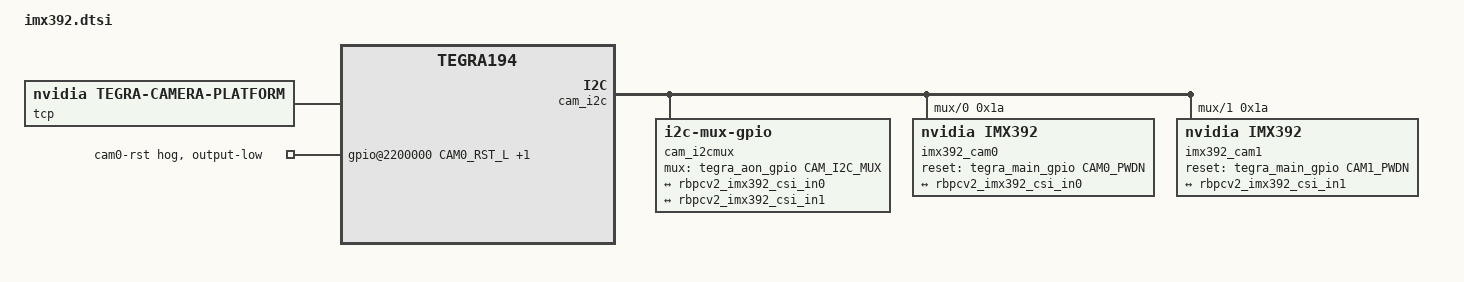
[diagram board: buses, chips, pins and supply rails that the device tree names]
/*
 * Copyright (c) 2018-2020, NVIDIA CORPORATION.  All rights reserved.
 *
 * This program is free software; you can redistribute it and/or modify
 * it under the terms of the GNU General Public License as published by
 * the Free Software Foundation; either version 2 of the License, or
 * (at your option) any later version.
 *
 * This program is distributed in the hope that it will be useful, but WITHOUT
 * ANY WARRANTY; without even the implied warranty of MERCHANTABILITY or
 * FITNESS FOR A PARTICULAR PURPOSE.  See the GNU General Public License for
 * more details.
 *
 * You should have received a copy of the GNU General Public License
 * along with this program.  If not, see <http://www.gnu.org/licenses/>.
 */

#define COLOR_SENSOR   0                /* CCC - imx392.dtsi - color sensor: 0=no, 1=yes */
#if COLOR_SENSOR
  #define PIXEL_TYPE_08  "bayer_rggb8"  /* 8-bit color pixel type  : V4L2_PIX_FMT_SRGGB8  'RGGB'  */
  #define PIXEL_TYPE_10  "bayer_rggb"   /* 10-bit color pixel type : V4L2_PIX_FMT_SRGGB10 'RG10'  */
  #define PIXEL_TYPE_12  "bayer_rggb12" /* 12-bit color pixel type : V4L2_PIX_FMT_SRGGB12 'RG12'  */
#else
  #define PIXEL_TYPE_08  "gray"         /* 8-bit grayscale pixel type  : V4L2_PIX_FMT_GREY 'GREY' */
  #define PIXEL_TYPE_10  "y10"          /* 10-bit grayscale pixel type : V4L2_PIX_FMT_Y10  'Y10 ' */
  #define PIXEL_TYPE_12  "y12"          /* 12-bit grayscale pixel type : V4L2_PIX_FMT_Y12  'Y12 ' */
#endif

#define BUS_WIDTH      2            /* CCC - imx392.dtsi - bus width: 1, 2 or 4 */
#define NUM_LANES     "2"           /* CCC - imx392.dtsi - number of lanes (== bus width): 1, 2 or 4 */
#define FLASH_OUTPUT  "1"           /* CCC - imx392.dtsi - flash output enable: "0"=off, "1"=on */
#define PIX_CLK_HZ_08 "1100000000"   // "800000000"  "400000000"  "182400000"
#define PIX_CLK_HZ_10 "1100000000"   // "800000000"  "400000000"  "182400000"
#define PIX_CLK_HZ_12 "1100000000"   // "800000000"  "400000000"  "182400000"


// #include <dt-bindings/media/camera.h>

// #define CAM0_PWDN     TEGRA194_MAIN_GPIO(P, 4)
// #define CAM1_PWDN     TEGRA194_MAIN_GPIO(P, 5)
// #define CAM_I2C_MUX   TEGRA194_AON_GPIO(CC, 3)

#include <t19x-common-modules/tegra194-camera-e3326-a00.dtsi>
#include "dt-bindings/clock/tegra194-clock.h"

#define CAM0_RST_L  TEGRA194_MAIN_GPIO(H, 3)
#define CAM0_PWDN   TEGRA194_MAIN_GPIO(H, 6)

/*
I2C Busses:

aliases:
i2c0 = "/i2c@3160000";
i2c1 = "/i2c@c240000";
i2c2 = "/i2c@3180000";
i2c3 = "/i2c@3190000";
i2c4 = "/i2c@31a0000";
i2c5 = "/i2c@31b0000";
i2c6 = "/i2c@31c0000";
i2c7 = "/i2c@c250000";
i2c8 = "/i2c@31e0000";
*/

/ {
    host1x {
        vi@15c10000  {
            num-channels = <2>;
            ports {
                #address-cells = <1>;
                #size-cells = <0>;
                vi_port0: port@0 {
                    reg = <0>;
                    rbpcv2_imx392_vi_in0: endpoint {
                        port-index = <2>;
                        bus-width = <BUS_WIDTH>;
                        remote-endpoint = <&rbpcv2_imx392_csi_out0>;
                    };
                };
                vi_port1: port@1 {
                    reg = <1>;
                    rbpcv2_imx392_vi_in1: endpoint {
                        port-index = <4>;
                        bus-width = <BUS_WIDTH>;
                        remote-endpoint = <&rbpcv2_imx392_csi_out1>;
                    };
                };
            };
        };

        nvcsi@15a00000 {
            num-channels = <2>;
            #address-cells = <1>;
            #size-cells = <0>;
            csi_chan0: channel@0 {
                reg = <0>;
                ports {
                    #address-cells = <1>;
                    #size-cells = <0>;
                    csi_chan0_port0: port@0 {
                        reg = <0>;
                        rbpcv2_imx392_csi_in0: endpoint@0 {
                            port-index = <2>;
                            bus-width = <BUS_WIDTH>;
                            remote-endpoint = <&rbpcv2_imx392_out0>;
                        };
                    };
                    csi_chan0_port1: port@1 {
                        reg = <1>;
                        rbpcv2_imx392_csi_out0: endpoint@1 {
                            remote-endpoint = <&rbpcv2_imx392_vi_in0>;
                        };
                    };
                };
            };
            csi_chan1: channel@1 {
                reg = <1>;
                ports {
                    #address-cells = <1>;
                    #size-cells = <0>;
                    csi_chan1_port0: port@0 {
                        reg = <0>;
                        rbpcv2_imx392_csi_in1: endpoint@2 {
                            port-index = <4>;
                            bus-width = <BUS_WIDTH>;
                            remote-endpoint = <&rbpcv2_imx392_out1>;
                        };
                    };
                    csi_chan1_port1: port@1 {
                        reg = <1>;
                        rbpcv2_imx392_csi_out1: endpoint@3 {
                            remote-endpoint = <&rbpcv2_imx392_vi_in1>;
                        };
                    };
                };
            };
        };
    };

    cam_i2cmux {
        i2c_0:i2c@0 {
            imx392_cam0: rbpcv2_imx392_a@1a {
                compatible = "nvidia,imx392";
                /* I2C device address */
                reg = <0x1a>;

                /* V4L2 device node location */
                devnode = "video0";

                /* Physical dimensions of sensor */
                physical_w = "3.680";
                physical_h = "2.760";

                sensor_model = "imx392";

                use_sensor_mode_id = "false";   // "true";
                flash-output = FLASH_OUTPUT;

                /**
                * ==== Modes ====
                * A modeX node is required to support v4l2 driver
                * implementation with NVIDIA camera software stack
                *
                * == Signal properties ==
                *
                * phy_mode = "";
                * PHY mode used by the MIPI lanes for this device
                *
                * tegra_sinterface = "";
                * CSI Serial interface connected to tegra
                * Incase of virtual HW devices, use virtual
                * For SW emulated devices, use host
                *
                * pix_clk_hz = "";
                * Sensor pixel clock used for calculations like exposure and framerate
                *
                * readout_orientation = "0";
                * Based on camera module orientation.
                * Only change readout_orientation if you specifically
                * Program a different readout order for this mode
                *
                * == Image format Properties ==
                *
                * active_w = "";
                * Pixel active region width
                *
                * active_h = "";
                * Pixel active region height
                *
                * pixel_t = "";
                * The sensor readout pixel pattern
                *
                * line_length = "";
                * Pixel line length (width) for sensor mode.
                *
                * == Source Control Settings ==
                *
                * Gain factor used to convert fixed point integer to float
                * Gain range [min_gain/gain_factor, max_gain/gain_factor]
                * Gain step [step_gain/gain_factor is the smallest step that can be configured]
                * Default gain [Default gain to be initialized for the control.
                *     use min_gain_val as default for optimal results]
                * Framerate factor used to convert fixed point integer to float
                * Framerate range [min_framerate/framerate_factor, max_framerate/framerate_factor]
                * Framerate step [step_framerate/framerate_factor is the smallest step that can be configured]
                * Default Framerate [Default framerate to be initialized for the control.
                *     use max_framerate to get required performance]
                * Exposure factor used to convert fixed point integer to float
                * For convenience use 1 sec = 1000000us as conversion factor
                * Exposure range [min_exp_time/exposure_factor, max_exp_time/exposure_factor]
                * Exposure step [step_exp_time/exposure_factor is the smallest step that can be configured]
                * Default Exposure Time [Default exposure to be initialized for the control.
                *     Set default exposure based on the default_framerate for optimal exposure settings]
                *
                * gain_factor = ""; (integer factor used for floating to fixed point conversion)
                * min_gain_val = ""; (ceil to integer)
                * max_gain_val = ""; (ceil to integer)
                * step_gain_val = ""; (ceil to integer)
                * default_gain = ""; (ceil to integer)
                * Gain limits for mode
                *
                * exposure_factor = ""; (integer factor used for floating to fixed point conversion)
                * min_exp_time = ""; (ceil to integer)
                * max_exp_time = ""; (ceil to integer)
                * step_exp_time = ""; (ceil to integer)
                * default_exp_time = ""; (ceil to integer)
                * Exposure Time limits for mode (sec)
                *
                * framerate_factor = ""; (integer factor used for floating to fixed point conversion)
                * min_framerate = ""; (ceil to integer)
                * max_framerate = ""; (ceil to integer)
                * step_framerate = ""; (ceil to integer)
                * default_framerate = ""; (ceil to integer)
                * Framerate limits for mode (fps)
                *
                * embedded_metadata_height = "";
                * Sensor embedded metadata height in units of rows.
                * If sensor does not support embedded metadata value should be 0.
                */
                mode0 {     // IMX392_MODE_1920X1200, 120 FPS, 8-bit
                    mclk_khz = "24000";
                    num_lanes = NUM_LANES;
                    tegra_sinterface = "serial_a";
                    phy_mode = "DPHY";
                    discontinuous_clk = "no"; // "yes";
                    dpcm_enable = "false";
                    cil_settletime = "0";

                    active_w = "1920";
                    active_h = "1200";
                    pixel_t = PIXEL_TYPE_08;

                    readout_orientation = "90";
                    line_length = "2304";
                    inherent_gain = "1";
                    mclk_multiplier = "9.33";
                    pix_clk_hz = PIX_CLK_HZ_08;  // "182400000";

                    gain_factor = "1";
                    framerate_factor = "1";
                    exposure_factor = "1";
                    min_gain_val = "0";         /* 1.00x */
                    max_gain_val = "1957";      /* 16 DB */
                    step_gain_val = "1";
                    default_gain = "16";        /* 1.00x */
                    min_hdr_ratio = "1";
                    max_hdr_ratio = "1";
                    min_framerate = "10";       /* 10.0 fps */
                    max_framerate = "60";       /* 60.0 fps */
                    step_framerate = "1";
                    default_framerate = "30";   /* 30.0 fps */
                    min_exp_time = "160";       /* us */
                    max_exp_time = "10000000";  /* us */
                    step_exp_time = "1";
                    default_exp_time = "10000"; /* us */

                    embedded_metadata_height = "0";
                };
                mode1 {     // IMX392_MODE_1920X1200, 120 FPS, 10-bit
                    mclk_khz = "24000";
                    num_lanes = NUM_LANES;
                    tegra_sinterface = "serial_a";
                    phy_mode = "DPHY";
                    discontinuous_clk = "no"; // "yes";
                    dpcm_enable = "false";
                    cil_settletime = "0";

                    active_w = "1920";
                    active_h = "1200";
                    pixel_t = PIXEL_TYPE_10;

                    readout_orientation = "90";
                    line_length = "2304";
                    inherent_gain = "1";
                    mclk_multiplier = "9.33";
                    pix_clk_hz = PIX_CLK_HZ_10;  // "182400000";

                    gain_factor = "1";
                    framerate_factor = "1";
                    exposure_factor = "1";
                    min_gain_val = "0";         /* 1.00x */
                    max_gain_val = "1957";      /* 16 DB */
                    step_gain_val = "1";
                    default_gain = "16";        /* 1.00x */
                    min_hdr_ratio = "1";
                    max_hdr_ratio = "1";
                    min_framerate = "10";       /* 10.0 fps */
                    max_framerate = "60";       /* 60.0 fps */
                    step_framerate = "1";
                    default_framerate = "30";   /* 30.0 fps */
                    min_exp_time = "160";       /* us */
                    max_exp_time = "10000000";  /* us */
                    step_exp_time = "1";
                    default_exp_time = "10000"; /* us */

                    embedded_metadata_height = "0";
                };
                mode2 {     // IMX392_MODE_1920X1200, 120 FPS, 12-bit
                    mclk_khz = "24000";
                    num_lanes = NUM_LANES;
                    tegra_sinterface = "serial_a";
                    phy_mode = "DPHY";
                    discontinuous_clk = "no"; // "yes";
                    dpcm_enable = "false";
                    cil_settletime = "0";

                    active_w = "1920";
                    active_h = "1200";
                    pixel_t = PIXEL_TYPE_12;

                    readout_orientation = "90";
                    line_length = "2304";
                    inherent_gain = "1";
                    mclk_multiplier = "9.33";
                    pix_clk_hz = PIX_CLK_HZ_12;  // "182400000";

                    gain_factor = "1";
                    framerate_factor = "1";
                    exposure_factor = "1";
                    min_gain_val = "0";         /* 1.00x */
                    max_gain_val = "1957";      /* 16 DB */
                    step_gain_val = "1";
                    default_gain = "16";        /* 1.00x */
                    min_hdr_ratio = "1";
                    max_hdr_ratio = "1";
                    min_framerate = "10";       /* 10.0 fps */
                    max_framerate = "60";       /* 60.0 fps */
                    step_framerate = "1";
                    default_framerate = "30";   /* 30.0 fps */
                    min_exp_time = "160";       /* us */
                    max_exp_time = "10000000";  /* us */
                    step_exp_time = "1";
                    default_exp_time = "10000"; /* us */

                    embedded_metadata_height = "0";
                };

                ports {
                    #address-cells = <1>;
                    #size-cells = <0>;
                    port@0 {
                        reg = <0>;
                        rbpcv2_imx392_out0: endpoint {
                            port-index = <2>;
                            bus-width = <BUS_WIDTH>;
                            remote-endpoint = <&rbpcv2_imx392_csi_in0>;
                        };
                    };
                };
            };
        };
        i2c_1: i2c@1 {
            imx392_cam1: rbpcv2_imx392_c@1a {
                compatible = "nvidia,imx392";
                /* I2C device address */
                reg = <0x1a>;

                /* V4L2 device node location */
                devnode = "video1";

                /* Physical dimensions of sensor */
                physical_w = "3.680";
                physical_h = "2.760";

                sensor_model = "imx392";

                use_sensor_mode_id = "false";   // "true";
                flash-output = FLASH_OUTPUT;

                /**
                * ==== Modes ====
                * A modeX node is required to support v4l2 driver
                * implementation with NVIDIA camera software stack
                *
                * == Signal properties ==
                *
                * phy_mode = "";
                * PHY mode used by the MIPI lanes for this device
                *
                * tegra_sinterface = "";
                * CSI Serial interface connected to tegra
                * Incase of virtual HW devices, use virtual
                * For SW emulated devices, use host
                *
                * pix_clk_hz = "";
                * Sensor pixel clock used for calculations like exposure and framerate
                *
                * readout_orientation = "0";
                * Based on camera module orientation.
                * Only change readout_orientation if you specifically
                * Program a different readout order for this mode
                *
                * == Image format Properties ==
                *
                * active_w = "";
                * Pixel active region width
                *
                * active_h = "";
                * Pixel active region height
                *
                * pixel_t = "";
                * The sensor readout pixel pattern
                *
                * line_length = "";
                * Pixel line length (width) for sensor mode.
                *
                * == Source Control Settings ==
                *
                * Gain factor used to convert fixed point integer to float
                * Gain range [min_gain/gain_factor, max_gain/gain_factor]
                * Gain step [step_gain/gain_factor is the smallest step that can be configured]
                * Default gain [Default gain to be initialized for the control.
                *     use min_gain_val as default for optimal results]
                * Framerate factor used to convert fixed point integer to float
                * Framerate range [min_framerate/framerate_factor, max_framerate/framerate_factor]
                * Framerate step [step_framerate/framerate_factor is the smallest step that can be configured]
                * Default Framerate [Default framerate to be initialized for the control.
                *     use max_framerate to get required performance]
                * Exposure factor used to convert fixed point integer to float
                * For convenience use 1 sec = 1000000us as conversion factor
                * Exposure range [min_exp_time/exposure_factor, max_exp_time/exposure_factor]
                * Exposure step [step_exp_time/exposure_factor is the smallest step that can be configured]
                * Default Exposure Time [Default exposure to be initialized for the control.
                *     Set default exposure based on the default_framerate for optimal exposure settings]
                *
                * gain_factor = ""; (integer factor used for floating to fixed point conversion)
                * min_gain_val = ""; (ceil to integer)
                * max_gain_val = ""; (ceil to integer)
                * step_gain_val = ""; (ceil to integer)
                * default_gain = ""; (ceil to integer)
                * Gain limits for mode
                *
                * exposure_factor = ""; (integer factor used for floating to fixed point conversion)
                * min_exp_time = ""; (ceil to integer)
                * max_exp_time = ""; (ceil to integer)
                * step_exp_time = ""; (ceil to integer)
                * default_exp_time = ""; (ceil to integer)
                * Exposure Time limits for mode (sec)
                *
                * framerate_factor = ""; (integer factor used for floating to fixed point conversion)
                * min_framerate = ""; (ceil to integer)
                * max_framerate = ""; (ceil to integer)
                * step_framerate = ""; (ceil to integer)
                * default_framerate = ""; (ceil to integer)
                * Framerate limits for mode (fps)
                *
                * embedded_metadata_height = "";
                * Sensor embedded metadata height in units of rows.
                * If sensor does not support embedded metadata value should be 0.
                */
                mode0 {     // IMX392_MODE_1920X1200, 120 FPS, 8-bit
                    mclk_khz = "24000";
                    num_lanes = NUM_LANES;
                    tegra_sinterface = "serial_c";
                    phy_mode = "DPHY";
                    discontinuous_clk = "no"; // "yes";
                    dpcm_enable = "false";
                    cil_settletime = "0";

                    active_w = "1920";
                    active_h = "1200";
                    pixel_t = PIXEL_TYPE_08;

                    readout_orientation = "90";
                    line_length = "2304";
                    inherent_gain = "1";
                    mclk_multiplier = "9.33";
                    pix_clk_hz = PIX_CLK_HZ_08;  // "182400000";

                    gain_factor = "1";
                    framerate_factor = "1";
                    exposure_factor = "1";
                    min_gain_val = "0";         /* 1.00x */
                    max_gain_val = "1957";      /* 16 DB */
                    step_gain_val = "1";
                    default_gain = "16";        /* 1.00x */
                    min_hdr_ratio = "1";
                    max_hdr_ratio = "1";
                    min_framerate = "10";       /* 10.0 fps */
                    max_framerate = "60";       /* 60.0 fps */
                    step_framerate = "1";
                    default_framerate = "30";   /* 30.0 fps */
                    min_exp_time = "160";       /* us */
                    max_exp_time = "10000000";  /* us */
                    step_exp_time = "1";
                    default_exp_time = "10000"; /* us */

                    embedded_metadata_height = "0";
                };
                mode1 {     // IMX392_MODE_1920X1200, 120 FPS, 10-bit
                    mclk_khz = "24000";
                    num_lanes = NUM_LANES;
                    tegra_sinterface = "serial_c";
                    phy_mode = "DPHY";
                    discontinuous_clk = "no"; // "yes";
                    dpcm_enable = "false";
                    cil_settletime = "0";

                    active_w = "1920";
                    active_h = "1200";
                    pixel_t = PIXEL_TYPE_10;

                    readout_orientation = "90";
                    line_length = "2304";
                    inherent_gain = "1";
                    mclk_multiplier = "9.33";
                    pix_clk_hz = PIX_CLK_HZ_10;  // "182400000";

                    gain_factor = "1";
                    framerate_factor = "1";
                    exposure_factor = "1";
                    min_gain_val = "0";         /* 1.00x */
                    max_gain_val = "1957";      /* 16 DB */
                    step_gain_val = "1";
                    default_gain = "16";        /* 1.00x */
                    min_hdr_ratio = "1";
                    max_hdr_ratio = "1";
                    min_framerate = "10";       /* 10.0 fps */
                    max_framerate = "60";       /* 60.0 fps */
                    step_framerate = "1";
                    default_framerate = "30";   /* 30.0 fps */
                    min_exp_time = "160";       /* us */
                    max_exp_time = "10000000";  /* us */
                    step_exp_time = "1";
                    default_exp_time = "10000"; /* us */

                    embedded_metadata_height = "0";
                };
                mode2 {     // IMX392_MODE_1920X1200, 120 FPS, 12-bit
                    mclk_khz = "24000";
                    num_lanes = NUM_LANES;
                    tegra_sinterface = "serial_c";
                    phy_mode = "DPHY";
                    discontinuous_clk = "no"; // "yes";
                    dpcm_enable = "false";
                    cil_settletime = "0";

                    active_w = "1920";
                    active_h = "1200";
                    pixel_t = PIXEL_TYPE_12;

                    readout_orientation = "90";
                    line_length = "2304";
                    inherent_gain = "1";
                    mclk_multiplier = "9.33";
                    pix_clk_hz = PIX_CLK_HZ_12;  // "182400000";

                    gain_factor = "1";
                    framerate_factor = "1";
                    exposure_factor = "1";
                    min_gain_val = "0";         /* 1.00x */
                    max_gain_val = "1957";      /* 16 DB */
                    step_gain_val = "1";
                    default_gain = "16";        /* 1.00x */
                    min_hdr_ratio = "1";
                    max_hdr_ratio = "1";
                    min_framerate = "10";       /* 10.0 fps */
                    max_framerate = "60";       /* 60.0 fps */
                    step_framerate = "1";
                    default_framerate = "30";   /* 30.0 fps */
                    min_exp_time = "160";       /* us */
                    max_exp_time = "10000000";  /* us */
                    step_exp_time = "1";
                    default_exp_time = "10000"; /* us */

                    embedded_metadata_height = "0";
                };

                ports {
                    #address-cells = <1>;
                    #size-cells = <0>;
                    port@0 {
                        reg = <0>;
                        rbpcv2_imx392_out1: endpoint {
                            port-index = <4>;
                            bus-width = <BUS_WIDTH>;
                            remote-endpoint = <&rbpcv2_imx392_csi_in1>;
                        };
                    };
                };
            };
        };
    };

    lens_imx392@RBPCV2 {
        min_focus_distance = "0.0";
        hyper_focal = "0.0";
        focal_length = "3.04";
        f_number = "2.0";
        aperture = "0.0";
    };
};

/ {
    tcp: tegra-camera-platform {
        compatible = "nvidia, tegra-camera-platform";
        /**
        * Physical settings to calculate max ISO BW
        *
        * num_csi_lanes = <>;
        * Total number of CSI lanes when all cameras are active
        *
        * max_lane_speed = <>;
        * Max lane speed in Kbit/s
        *
        * min_bits_per_pixel = <>;
        * Min bits per pixel
        *
        * vi_peak_byte_per_pixel = <>;
        * Max byte per pixel for the VI ISO case
        *
        * vi_bw_margin_pct = <>;
        * Vi bandwidth margin in percentage
        *
        * max_pixel_rate = <>;
        * Max pixel rate in Kpixel/s for the ISP ISO case
        *
        * isp_peak_byte_per_pixel = <>;
        * Max byte per pixel for the ISP ISO case
        *
        * isp_bw_margin_pct = <>;
        * Isp bandwidth margin in percentage
        */
        num_csi_lanes = <4>;
        max_lane_speed = <1500000>;
        min_bits_per_pixel = <10>;
        vi_peak_byte_per_pixel = <2>;
        vi_bw_margin_pct = <25>;
        max_pixel_rate = <240000>;
        isp_peak_byte_per_pixel = <5>;
        isp_bw_margin_pct = <25>;

        /**
         * The general guideline for naming badge_info contains 3 parts, and is as follows,
         * The first part is the camera_board_id for the module; if the module is in a FFD
         * platform, then use the platform name for this part.
         * The second part contains the position of the module, ex. "rear" or "front".
         * The third part contains the last 6 characters of a part number which is found
         * in the module's specsheet from the vendor.
         */
        modules {
            cam_module0: module0 {
                badge = "e3326_front_P5V27C";
                position = "rear";
                orientation = "1";
                cam_module0_drivernode0: drivernode0 {
                    pcl_id = "v4l2_sensor";
                    devname = "imx392 2-001a";
                    proc-device-tree = "/proc/device-tree/i2c@3180000/rbpcv2_imx392_a@1a";
                };
                cam_module0_drivernode1: drivernode1 {
                    pcl_id = "v4l2_lens";
                    proc-device-tree = "/proc/device-tree/e3326_lens_imx392@P5V27C/";
                };
            };
            cam_module1: module1 {
                badge = "e3326_front_P5V27C";
                position = "front";
                orientation = "1";
                cam_module1_drivernode0: drivernode0 {
                    pcl_id = "v4l2_sensor";
                    devname = "imx392 1-001a";
                    proc-device-tree = "/proc/device-tree/i2c@c240000/rbpcv2_imx392_c@1a";
                };
                cam_module1_drivernode1: drivernode1 {
                    pcl_id = "v4l2_lens";
                    proc-device-tree = "/proc/device-tree/e3326_lens_imx392@P5V27C/";
                };
            };
        };
    };
};

/ {
    cam_i2cmux{
        compatible = "i2c-mux-gpio";
        #address-cells = <1>;
        #size-cells = <0>;
        i2c-parent = <&cam_i2c>;
        mux-gpios = <&tegra_aon_gpio CAM_I2C_MUX GPIO_ACTIVE_HIGH>;
        i2c@0 {
            reg = <0>;
            #address-cells = <1>;
            #size-cells = <0>;
            rbpcv2_imx392_a@1a {
                reset-gpios = <&tegra_main_gpio CAM0_PWDN GPIO_ACTIVE_HIGH>;
            };
        };
        i2c@1 {
            reg = <1>;
            #address-cells = <1>;
            #size-cells = <0>;
            rbpcv2_imx392_c@1a {
                reset-gpios = <&tegra_main_gpio CAM1_PWDN GPIO_ACTIVE_HIGH>;
            };
        };
    };

    gpio@2200000 {
        camera-control-output-low {
            gpio-hog;
            output-low;
            // gpios = <CAM0_PWDN 0 CAM1_PWDN 0>;
            // label = "cam0-pwdn","cam1-pwdn";
            gpios = <CAM0_RST_L 0 CAM0_PWDN 0>;
            label = "cam0-rst", "cam0-pwdn";
        };
    };
};
